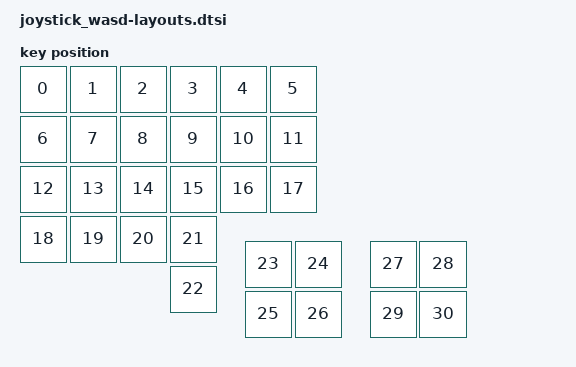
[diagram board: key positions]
#include <physical_layouts.dtsi>

/ {
    physical_layout0: physical_layout_0 { // First physical layout, use different naming for other layouts
        compatible = "zmk,physical-layout";
        display-name = "Default Layout";
        // https://zmk-physical-layout-converter.streamlit.app/
        keys  //                     w   h    x    y     rot    rx    ry
            = <&key_physical_attrs 100 100    0    0       0     0     0>
            , <&key_physical_attrs 100 100  100    0       0     0     0>
            , <&key_physical_attrs 100 100  200    0       0     0     0>
            , <&key_physical_attrs 100 100  300    0       0     0     0>
            , <&key_physical_attrs 100 100  400    0       0     0     0>
            , <&key_physical_attrs 100 100  500    0       0     0     0>
            , <&key_physical_attrs 100 100    0  100       0     0     0>
            , <&key_physical_attrs 100 100  100  100       0     0     0>
            , <&key_physical_attrs 100 100  200  100       0     0     0>
            , <&key_physical_attrs 100 100  300  100       0     0     0>
            , <&key_physical_attrs 100 100  400  100       0     0     0>
            , <&key_physical_attrs 100 100  500  100       0     0     0>
            , <&key_physical_attrs 100 100    0  200       0     0     0>
            , <&key_physical_attrs 100 100  100  200       0     0     0>
            , <&key_physical_attrs 100 100  200  200       0     0     0>
            , <&key_physical_attrs 100 100  300  200       0     0     0>
            , <&key_physical_attrs 100 100  400  200       0     0     0>
            , <&key_physical_attrs 100 100  500  200       0     0     0>
            , <&key_physical_attrs 100 100    0  300       0     0     0>
            , <&key_physical_attrs 100 100  100  300       0     0     0>
            , <&key_physical_attrs 100 100  200  300       0     0     0>
            , <&key_physical_attrs 100 100  300  300       0     0     0>
            , <&key_physical_attrs 100 100  300  400       0     0     0>
            , <&key_physical_attrs 100 100  450  350       0   550   450>
            , <&key_physical_attrs 100 100  550  350       0   550   450>
            , <&key_physical_attrs 100 100  450  450       0   550   450>
            , <&key_physical_attrs 100 100  550  450       0   550   450>
            , <&key_physical_attrs 100 100  700  350       0   550   450>
            , <&key_physical_attrs 100 100  800  350       0   550   450>
            , <&key_physical_attrs 100 100  700  450       0   550   450>
            , <&key_physical_attrs 100 100  800  450       0   550   450>
            ;
    };
};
